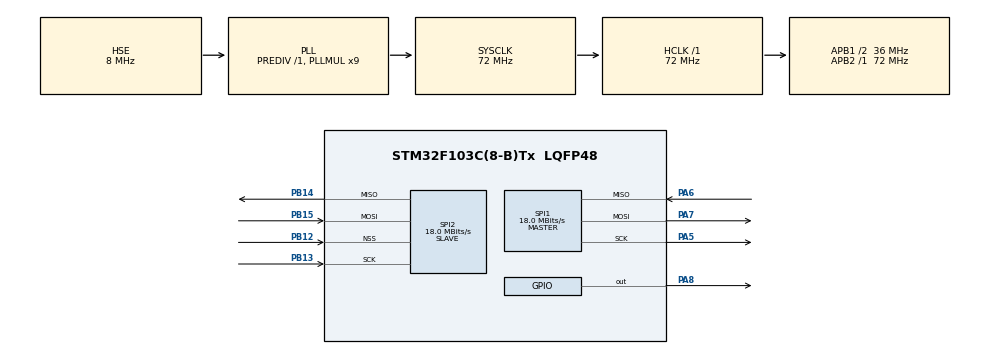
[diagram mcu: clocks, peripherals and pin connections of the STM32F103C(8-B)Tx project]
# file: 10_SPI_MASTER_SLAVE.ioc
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Mcu.Family=STM32F1
RCC.PLLSourceVirtual=RCC_PLLSOURCE_HSE
PA6.Mode=Full_Duplex_Master
SPI2.VirtualNSS=VM_NSSHARD
PA7.Mode=Full_Duplex_Master
PD1-OSC_OUT.Mode=HSE-External-Oscillator
SPI1.VirtualType=VM_MASTER
SPI2.VirtualType=VM_SLAVE
PD0-OSC_IN.Signal=RCC_OSC_IN
RCC.APB1CLKDivider=RCC_HCLK_DIV2
PB15.Signal=SPI2_MOSI
PB13.Signal=SPI2_SCK
RCC.SYSCLKSource=RCC_SYSCLKSOURCE_PLLCLK
ProjectManager.StackSize=0x400
PD1-OSC_OUT.Signal=RCC_OSC_OUT
PA13.Signal=SYS_JTMS-SWDIO
ProjectManager.TargetToolchain=STM32CubeIDE
SPI1.Direction=SPI_DIRECTION_2LINES
RCC.HCLKFreq_Value=72000000
RCC.APB2TimFreq_Value=72000000
SPI1.CalculateBaudRate=18.0 MBits/s
RCC.USBFreq_Value=72000000
RCC.AHBFreq_Value=72000000
SPI2.BaudRatePrescaler=SPI_BAUDRATEPRESCALER_2
PD0-OSC_IN.Mode=HSE-External-Oscillator
PB14.Signal=SPI2_MISO
PA5.Signal=SPI1_SCK
board=custom
RCC.PLLMUL=RCC_PLL_MUL9
PB15.Mode=Full_Duplex_Slave
NVIC.SPI1_IRQn=true\:0\:0\:false\:false\:true\:true\:true
RCC.APB2Freq_Value=72000000
SPI1.Mode=SPI_MODE_MASTER
PA14.Mode=Serial_Wire
PB14.Mode=Full_Duplex_Slave
SPI2.CalculateBaudRate=18.0 MBits/s
PA8.Signal=GPIO_Output
NVIC.SPI2_IRQn=true\:0\:0\:false\:false\:true\:true\:true
PA13.Mode=Serial_Wire
Mcu.Name=STM32F103C(8-B)Tx
RCC.SYSCLKFreq_VALUE=72000000
Mcu.Package=LQFP48
PA6.Signal=SPI1_MISO
PB12.Mode=NSS_Signal_Hard_Input
SPI2.Mode=SPI_MODE_SLAVE
PA14.Signal=SYS_JTCK-SWCLK
ProjectManager.HeapSize=0x200
PA8.GPIO_PuPd=GPIO_NOPULL
NVIC.PriorityGroup=NVIC_PRIORITYGROUP_4
RCC.APB1TimFreq_Value=72000000
SPI2.Direction=SPI_DIRECTION_2LINES
PB13.Mode=Full_Duplex_Slave
RCC.APB1Freq_Value=36000000
SPI1.BaudRatePrescaler=SPI_BAUDRATEPRESCALER_4
PA8.GPIO_Speed=GPIO_SPEED_FREQ_HIGH
PB12.Signal=SPI2_NSS
PA8.PinState=GPIO_PIN_SET
PA5.Mode=Full_Duplex_Master
PA7.Signal=SPI1_MOSI

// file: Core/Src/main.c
/* USER CODE BEGIN Header */
/**
 ******************************************************************************
 * @file           : main.c
 * @brief          : Main program body
 ******************************************************************************
 * @attention
 *
 * <h2><center>&copy; Copyright (c) 2021 STMicroelectronics.
 * All rights reserved.</center></h2>
 *
 * This software component is licensed by ST under BSD 3-Clause license,
 * the "License"; You may not use this file except in compliance with the
 * License. You may obtain a copy of the License at:
 *                        opensource.org/licenses/BSD-3-Clause
 *
 ******************************************************************************
 */
/* USER CODE END Header */
#include "main.h"
#define SPI2_ENABLE 	HAL_GPIO_WritePin(GPIOA, GPIO_PIN_8, GPIO_PIN_RESET);
#define SPI2_DISABLE 	HAL_GPIO_WritePin(GPIOA, GPIO_PIN_8, GPIO_PIN_SET);

SPI_HandleTypeDef hspi1;
SPI_HandleTypeDef hspi2;

void SystemClock_Config(void);
static void MX_GPIO_Init(void);
static void MX_SPI1_Init(void);
static void MX_SPI2_Init(void);
/* USER CODE BEGIN PFP */
uint8_t RX1, RX2, TX_Data;
/* USER CODE END PFP */

/* USER CODE BEGIN 0 */
void HAL_SPI_RxCpltCallback(SPI_HandleTypeDef *hspi) {
	if (hspi->Instance == SPI2) {
		HAL_SPI_Receive_IT(&hspi2, &RX2, 1);
		HAL_SPI_Transmit_IT(&hspi2, &RX2, 1);
		SPI2_DISABLE;
	}
	if (hspi->Instance == SPI1) {
	//	HAL_SPI_Receive_IT(&hspi1, &RX1, 1);
	}

}
/* USER CODE END 0 */

int main(void)
{

  /* MCU Configuration--------------------------------------------------------*/

  /* Reset of all peripherals, Initializes the Flash interface and the Systick. */
  HAL_Init();

  /* Configure the system clock */
  SystemClock_Config();

  /* Initialize all configured peripherals */
  MX_GPIO_Init();
  MX_SPI1_Init();
  MX_SPI2_Init();
  /* USER CODE BEGIN 2 */
	HAL_SPI_Receive_IT(&hspi1, &RX1, 1);
	HAL_SPI_Receive_IT(&hspi2, &RX2, 1);
  /* USER CODE END 2 */

  /* Infinite loop */
	while (1) {
    /* USER CODE BEGIN 3 */

		SPI2_ENABLE;
		HAL_SPI_Transmit_IT(&hspi1, &TX_Data, 1);
		HAL_Delay(100);
		while(HAL_SPI_GetState(&hspi1) != HAL_SPI_STATE_READY);
			HAL_SPI_Receive_IT(&hspi1, &RX1, 1);
		if(TX_Data < 200)
			TX_Data +=2;
		else
			TX_Data = 0;
		HAL_Delay(200);
	}
  /* USER CODE END 3 */
}

void SystemClock_Config(void)
{
  RCC_OscInitTypeDef RCC_OscInitStruct = {0};
  RCC_ClkInitTypeDef RCC_ClkInitStruct = {0};

  /** Initializes the RCC Oscillators according to the specified parameters
  * in the RCC_OscInitTypeDef structure.
  */
  RCC_OscInitStruct.OscillatorType = RCC_OSCILLATORTYPE_HSE;
  RCC_OscInitStruct.HSEState = RCC_HSE_ON;
  RCC_OscInitStruct.HSEPredivValue = RCC_HSE_PREDIV_DIV1;
  RCC_OscInitStruct.HSIState = RCC_HSI_ON;
  RCC_OscInitStruct.PLL.PLLState = RCC_PLL_ON;
  RCC_OscInitStruct.PLL.PLLSource = RCC_PLLSOURCE_HSE;
  RCC_OscInitStruct.PLL.PLLMUL = RCC_PLL_MUL9;
  if (HAL_RCC_OscConfig(&RCC_OscInitStruct) != HAL_OK)
  {
    Error_Handler();
  }
  /** Initializes the CPU, AHB and APB buses clocks
  */
  RCC_ClkInitStruct.ClockType = RCC_CLOCKTYPE_HCLK|RCC_CLOCKTYPE_SYSCLK
                              |RCC_CLOCKTYPE_PCLK1|RCC_CLOCKTYPE_PCLK2;
  RCC_ClkInitStruct.SYSCLKSource = RCC_SYSCLKSOURCE_PLLCLK;
  RCC_ClkInitStruct.AHBCLKDivider = RCC_SYSCLK_DIV1;
  RCC_ClkInitStruct.APB1CLKDivider = RCC_HCLK_DIV2;
  RCC_ClkInitStruct.APB2CLKDivider = RCC_HCLK_DIV1;

  if (HAL_RCC_ClockConfig(&RCC_ClkInitStruct, FLASH_LATENCY_2) != HAL_OK)
  {
    Error_Handler();
  }
}

static void MX_SPI1_Init(void)
{

  /* SPI1 parameter configuration*/
  hspi1.Instance = SPI1;
  hspi1.Init.Mode = SPI_MODE_MASTER;
  hspi1.Init.Direction = SPI_DIRECTION_2LINES;
  hspi1.Init.DataSize = SPI_DATASIZE_8BIT;
  hspi1.Init.CLKPolarity = SPI_POLARITY_LOW;
  hspi1.Init.CLKPhase = SPI_PHASE_1EDGE;
  hspi1.Init.NSS = SPI_NSS_SOFT;
  hspi1.Init.BaudRatePrescaler = SPI_BAUDRATEPRESCALER_4;
  hspi1.Init.FirstBit = SPI_FIRSTBIT_MSB;
  hspi1.Init.TIMode = SPI_TIMODE_DISABLE;
  hspi1.Init.CRCCalculation = SPI_CRCCALCULATION_DISABLE;
  hspi1.Init.CRCPolynomial = 10;
  if (HAL_SPI_Init(&hspi1) != HAL_OK)
  {
    Error_Handler();
  }

}

static void MX_SPI2_Init(void)
{

  /* SPI2 parameter configuration*/
  hspi2.Instance = SPI2;
  hspi2.Init.Mode = SPI_MODE_SLAVE;
  hspi2.Init.Direction = SPI_DIRECTION_2LINES;
  hspi2.Init.DataSize = SPI_DATASIZE_8BIT;
  hspi2.Init.CLKPolarity = SPI_POLARITY_LOW;
  hspi2.Init.CLKPhase = SPI_PHASE_1EDGE;
  hspi2.Init.NSS = SPI_NSS_HARD_INPUT;
  hspi2.Init.BaudRatePrescaler = SPI_BAUDRATEPRESCALER_2;
  hspi2.Init.FirstBit = SPI_FIRSTBIT_MSB;
  hspi2.Init.TIMode = SPI_TIMODE_DISABLE;
  hspi2.Init.CRCCalculation = SPI_CRCCALCULATION_DISABLE;
  hspi2.Init.CRCPolynomial = 10;
  if (HAL_SPI_Init(&hspi2) != HAL_OK)
  {
    Error_Handler();
  }

}

static void MX_GPIO_Init(void)
{
  GPIO_InitTypeDef GPIO_InitStruct = {0};

  /* GPIO Ports Clock Enable */
  __HAL_RCC_GPIOD_CLK_ENABLE();
  __HAL_RCC_GPIOA_CLK_ENABLE();
  __HAL_RCC_GPIOB_CLK_ENABLE();

  /*Configure GPIO pin Output Level */
  HAL_GPIO_WritePin(GPIOA, GPIO_PIN_8, GPIO_PIN_SET);

  /*Configure GPIO pin : PA8 */
  GPIO_InitStruct.Pin = GPIO_PIN_8;
  GPIO_InitStruct.Mode = GPIO_MODE_OUTPUT_PP;
  GPIO_InitStruct.Pull = GPIO_NOPULL;
  GPIO_InitStruct.Speed = GPIO_SPEED_FREQ_HIGH;
  HAL_GPIO_Init(GPIOA, &GPIO_InitStruct);

}

void Error_Handler(void)
{
	__disable_irq();
	while (1) {
	}
}

/************************ (C) COPYRIGHT STMicroelectronics *****END OF FILE****/
